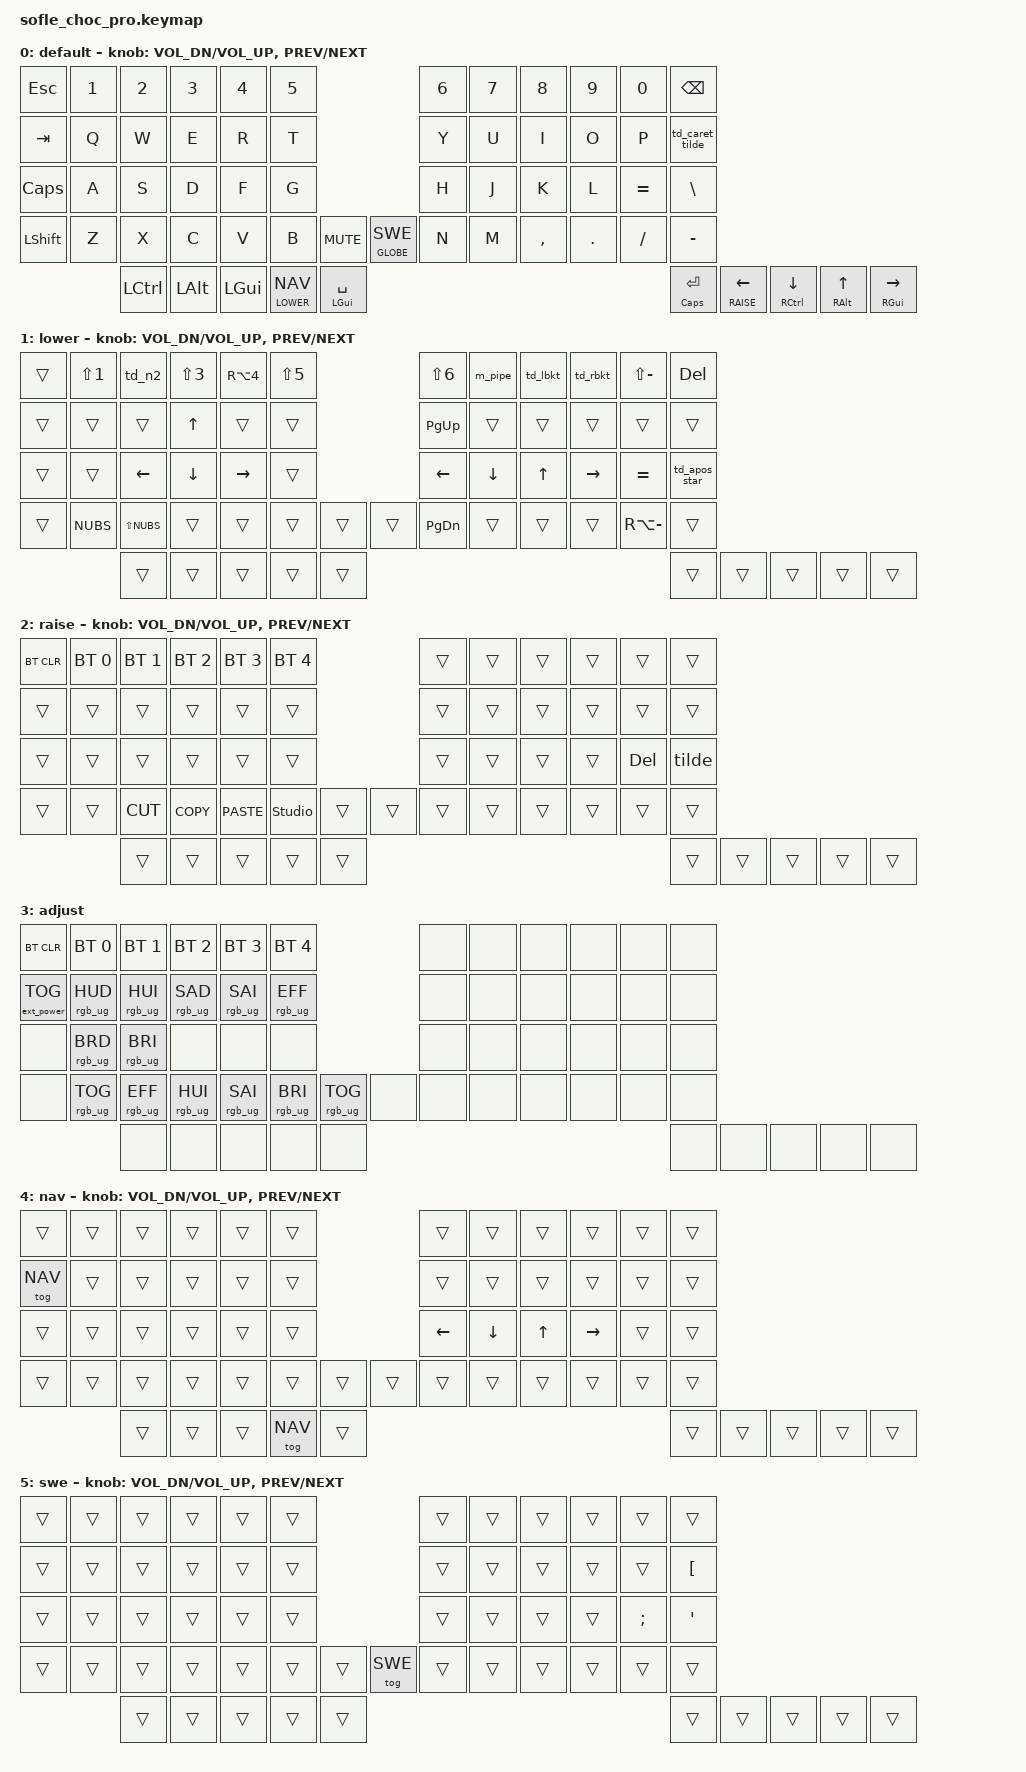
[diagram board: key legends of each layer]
/*
* Copyright (c) 2020 The ZMK Contributors
*
* SPDX-License-Identifier: MIT
*/

#include <behaviors.dtsi>
#include <dt-bindings/zmk/bt.h>
#include <dt-bindings/zmk/ext_power.h>
#include <dt-bindings/zmk/keys.h>
#include <dt-bindings/zmk/pointing.h>
#include <dt-bindings/zmk/rgb.h>

// Swedish characters: just send the US key positions that map to åäö on Swedish OS
// å = LBKT, ä = SQT, ö = SEMI

#define BASE 0
#define LOWER 1
#define RAISE 2
#define ADJUST 3
#define NAV 4
#define SWE 5

/ {
    // Macros for Swedish symbols

    macros {
        tilde: tilde_macro {
            compatible = "zmk,behavior-macro";
            #binding-cells = <0>;
            bindings = <&kp RA(RBKT) &kp SPACE>;  // AltGr+¨ then space = ~
        };

        // Bracket macros for tap-dance (explicit for reliability)

        m_lbkt: macro_left_bracket {
            compatible = "zmk,behavior-macro";
            #binding-cells = <0>;
            bindings = <&kp RA(N8)>;  // [
        };

        m_lbrc: macro_left_brace {
            compatible = "zmk,behavior-macro";
            #binding-cells = <0>;
            bindings = <&kp LS(RA(N8))>;  // { = Option+Shift+8 on macOS Swedish
        };

        m_rbkt: macro_right_bracket {
            compatible = "zmk,behavior-macro";
            #binding-cells = <0>;
            bindings = <&kp RA(N9)>;  // ]
        };

        m_rbrc: macro_right_brace {
            compatible = "zmk,behavior-macro";
            #binding-cells = <0>;
            bindings = <&kp LS(RA(N9))>;  // } = Option+Shift+9 on macOS Swedish
        };

        // Pipe macro - Option+7 on macOS Swedish

        m_pipe: macro_pipe {
            compatible = "zmk,behavior-macro";
            #binding-cells = <0>;
            bindings = <&kp RA(N7)>;  // | = Option+7 on macOS Swedish
        };
    };

    behaviors {
        // Tap-dance for brackets: tap=[], double-tap={}

        td_lbkt: tap_dance_left_bracket {
            compatible = "zmk,behavior-tap-dance";
            #binding-cells = <0>;
            tapping-term-ms = <125>;
            bindings = <&m_lbkt>, <&m_lbrc>;

            // tap=[, double-tap={
        };

        td_rbkt: tap_dance_right_bracket {
            compatible = "zmk,behavior-tap-dance";
            #binding-cells = <0>;
            tapping-term-ms = <125>;
            bindings = <&m_rbkt>, <&m_rbrc>;

            // tap=], double-tap=}
        };

        // Hold-tap for word/line navigation
        // Tap = word jump (Option+Arrow), Hold = line jump (Cmd+Arrow)

        ht_word_l: hold_tap_word_left {
            compatible = "zmk,behavior-hold-tap";
            #binding-cells = <2>;
            flavor = "tap-preferred";
            tapping-term-ms = <125>;
            bindings = <&kp>, <&kp>;
        };

        ht_word_r: hold_tap_word_right {
            compatible = "zmk,behavior-hold-tap";
            #binding-cells = <2>;
            flavor = "tap-preferred";
            tapping-term-ms = <125>;
            bindings = <&kp>, <&kp>;
        };

        // Number row tap-dance for LOWER layer
        // 2: tap = ", double-tap = @

        td_n2: tap_dance_2 {
            compatible = "zmk,behavior-tap-dance";
            #binding-cells = <0>;
            tapping-term-ms = <175>;
            bindings = <&kp LS(N2)>, <&kp RA(N2)>;

            // " then @
        };

        // 7: tap = /, double-tap = |

        td_n7: tap_dance_7 {
            compatible = "zmk,behavior-tap-dance";
            #binding-cells = <0>;
            tapping-term-ms = <125>;
            bindings = <&kp LS(N7)>, <&m_pipe>;

            // / then |
        };

        // Caret/tilde tap-dance for position next to P (replaces Enter)
        // tap = ^, double-tap = ~

        td_caret_tilde: tap_dance_caret_tilde {
            compatible = "zmk,behavior-tap-dance";
            #binding-cells = <0>;
            tapping-term-ms = <155>;  // Right side: 155ms
            bindings = <&kp LS(RBKT)>, <&tilde>;

            // ^ then ~
        };

        // Apostrophe/asterisk tap-dance for LOWER layer
        // tap = ', double-tap = *

        td_apos_star: tap_dance_apos_star {
            compatible = "zmk,behavior-tap-dance";
            #binding-cells = <0>;
            tapping-term-ms = <155>;  // Right side: 155ms
            bindings = <&kp BSLH>, <&kp LS(BSLH)>;

            // ' then *
        };

        // Hold-tap for LOWER key: hold = momentary LOWER, tap = toggle NAV

        ht_lower_nav: hold_tap_lower_nav {
            compatible = "zmk,behavior-hold-tap";
            #binding-cells = <2>;
            flavor = "balanced";
            tapping-term-ms = <200>;
            bindings = <&mo>, <&tog>;
        };

        // Hold-tap for PLAY/Fn key: tap = toggle SWE, hold = GLOBE (macOS fn)

        ht_fn_swe: hold_tap_fn_swe {
            compatible = "zmk,behavior-hold-tap";
            #binding-cells = <2>;
            flavor = "balanced";
            tapping-term-ms = <200>;
            bindings = <&kp>, <&tog>;
        };

        // Hold-tap for RAISE key: tap = LEFT arrow, hold = mo RAISE

        ht_raise_left: hold_tap_raise_left {
            compatible = "zmk,behavior-hold-tap";
            #binding-cells = <2>;
            flavor = "balanced";
            tapping-term-ms = <200>;
            bindings = <&mo>, <&kp>;
        };

        // Hold-tap for right thumb modifiers: tap = arrow, hold = modifier

        ht_ctrl_left: hold_tap_ctrl_left {
            compatible = "zmk,behavior-hold-tap";
            #binding-cells = <2>;
            flavor = "balanced";
            tapping-term-ms = <200>;
            bindings = <&kp>, <&kp>;
        };

        // Hold-tap for Enter: tap = Enter, hold = Caps Lock

        ht_ret_caps: hold_tap_ret_caps {
            compatible = "zmk,behavior-hold-tap";
            #binding-cells = <2>;
            flavor = "balanced";
            tapping-term-ms = <200>;
            bindings = <&kp>, <&kp>;
        };

        // Hold-tap for Space: tap = Space, hold = CMD
        // tap-preferred: prioritize tap for fast typing

        hrm_space: home_row_mod_space {
            compatible = "zmk,behavior-hold-tap";
            #binding-cells = <2>;
            flavor = "tap-preferred";
            tapping-term-ms = <200>;
            quick-tap-ms = <0>;
            bindings = <&kp>, <&kp>;
        };
    };

    // Swedish character combos (å ä ö) - adjacent key pairs
    // P=22, ^/~=23, L=33, ==34, '=35

    combos {
        compatible = "zmk,combos";

        // å: P + ^/~ pressed together

        combo_ao {
            timeout-ms = <50>;
            key-positions = <22 23>;
            bindings = <&kp LBKT>;
            layers = <BASE>;
        };

        // ö: L + = pressed together

        combo_oe {
            timeout-ms = <50>;
            key-positions = <33 34>;
            bindings = <&kp SEMI>;
            layers = <BASE>;
        };

        // ä: = + ' pressed together

        combo_ae {
            timeout-ms = <50>;
            key-positions = <34 35>;
            bindings = <&kp SQT>;
            layers = <BASE>;
        };

        combo_spotlight {
            timeout-ms = <50>;
            key-positions = <42 43>;  // MUTE + FN/SWE (encoder buttons)
            bindings = <&kp LG(SPACE)>;
            layers = <BASE>;
        };

        // Arrow combos on number row: 6-7-8-9-0
        // 2-key = arrows, 3-key = word jump

        combo_arrow_left {
            timeout-ms = <50>;
            key-positions = <6 7>;  // 6 + 7
            bindings = <&kp LEFT>;
            layers = <BASE>;
        };

        combo_arrow_down {
            timeout-ms = <50>;
            key-positions = <7 8>;  // 7 + 8
            bindings = <&kp DOWN>;
            layers = <BASE>;
        };

        combo_arrow_up {
            timeout-ms = <50>;
            key-positions = <8 9>;  // 8 + 9
            bindings = <&kp UP>;
            layers = <BASE>;
        };

        combo_arrow_right {
            timeout-ms = <50>;
            key-positions = <9 10>;  // 9 + 0
            bindings = <&kp RIGHT>;
            layers = <BASE>;
        };

        combo_word_left {
            timeout-ms = <50>;
            key-positions = <6 7 8>;  // 6 + 7 + 8
            bindings = <&kp LA(LEFT)>;
            layers = <BASE>;
        };

        combo_word_right {
            timeout-ms = <50>;
            key-positions = <8 9 10>;  // 8 + 9 + 0
            bindings = <&kp LA(RIGHT)>;
            layers = <BASE>;
        };
    };

    // Activate ADJUST layer by pressing raise and lower

    conditional_layers {
        compatible = "zmk,conditional-layers";

        adjust_layer {
            if-layers = <LOWER RAISE>;
            then-layer = <ADJUST>;
        };
    };

    keymap {
        compatible = "zmk,keymap";

        default_layer {
            display-name = "default";

            // Swedish-optimized layout
            // ------------------------------------------------------------------------------------------------------------
            // |  ESC  |  1  |  2  |  3   |  4   |  5   |                   |  6   |  7    |  8    |  9   |   0   | BKSPC |
            // |  TAB  |  Q  |  W  |  E   |  R   |  T   |                   |  Y   |  U    |  I    |  O   |   P   | ^/~   |
            // | CAPS  |  A  |  S  |  D   |  F   |  G   |                   |  H   |  J    |  K    |  L   |   =   |   '   |
            // | SHIFT |  Z  |  X  |  C   |  V   |  B   |  MUTE  |  |FN/SWE |  N   |  M    |  ,;   |  .:  |  -_   | +/?   |
            //               | CTRL| ALT  | GUI  |LWR/NV|SPC/CMD |  |RET/CPS|RSE/← | ←/CTL | ↓/ALT | →/GUI|
            // LWR/NV: hold = LOWER, tap = toggle NAV | RET/CPS: hold = Caps, tap = Enter
            // FN/SWE: tap = toggle SWE, hold = GLOBE (macOS fn) | RSE/←: tap = LEFT, hold = RAISE
            // SPC/CMD: tap = Space, hold = CMD
            // Combos: P+^=å, L+==ö, =+'=ä, MUTE+FN=Spotlight
            // Arrows: 6+7=←, 7+8=↓, 8+9=↑, 9+0=→ | Word: 6+7+8=word←, 8+9+0=word→

            bindings = <
&kp ESC    &kp N1  &kp N2     &kp N3    &kp N4    &kp N5                                                        &kp N6  &kp N7  &kp N8     &kp N9   &kp N0     &kp BSPC
&kp TAB    &kp Q   &kp W      &kp E     &kp R     &kp T                                                         &kp Y   &kp U   &kp I      &kp O    &kp P      &td_caret_tilde
&kp CLCK   &kp A   &kp S      &kp D     &kp F     &kp G                                                         &kp H   &kp J   &kp K      &kp L    &kp EQUAL  &kp BSLH
&kp LSHFT  &kp Z   &kp X      &kp C     &kp V     &kp B      &kp C_MUTE      &ht_fn_swe GLOBE SWE               &kp N   &kp M   &kp COMMA  &kp DOT  &kp FSLH   &kp MINUS
                   &kp LCTRL  &kp LALT  &kp LGUI  &ht_lower_nav LOWER NAV   &hrm_space LGUI SPACE   &ht_ret_caps CLCK RET   &ht_raise_left RAISE LEFT  &ht_ctrl_left RCTRL DOWN  &ht_ctrl_left RALT UP  &ht_ctrl_left RGUI RIGHT
            >;

            sensor-bindings = <&inc_dec_kp C_VOL_DN C_VOL_UP &inc_dec_kp C_PREV C_NEXT>;
        };

        lower_layer {
            display-name = "lower";

            // LOWER: symbols + vim HJKL arrows + PgUp/Dn on Y/N

            bindings = <
&trans  &kp LS(N1)  &td_n2        &kp LS(N3)  &kp RA(N4)  &kp LS(N5)                    &kp LS(N6)  &m_pipe   &td_lbkt  &td_rbkt   &kp LS(MINUS)  &kp DEL
&trans  &trans      &trans        &kp UP      &trans      &trans                        &kp PG_UP   &trans    &trans    &trans     &trans         &trans
&trans  &trans      &kp LEFT      &kp DOWN    &kp RIGHT   &trans                        &kp LEFT    &kp DOWN  &kp UP    &kp RIGHT  &kp EQUAL      &td_apos_star
&trans  &kp NUBS    &kp LS(NUBS)  &trans      &trans      &trans      &trans    &trans  &kp PG_DN   &trans    &trans    &trans     &kp RA(MINUS)  &trans
                    &trans        &trans      &trans      &trans      &trans    &trans  &trans      &trans    &trans    &trans
            >;

            sensor-bindings = <&inc_dec_kp C_VOL_DN C_VOL_UP &inc_dec_kp C_PREV C_NEXT>;
        };

        raise_layer {
            display-name = "raise";

            // BT controls, tilde, DEL
            // ------------------------------------------------------------------------------------------------------------
            // | BTCLR | BT1  | BT2  |  BT3  |  BT4  |  BT5 |                |      |      |       |      |       |       |
            // |       |      |      |       |       |      |                |      |      |       |      |       |       |
            // |       |      |      |       |       |      |                |      |      |       |      |  DEL  |   ~   |
            // |       |      | CUT  | COPY  | PASTE |      |      |  |      |      |      |       |      |       |       |
            //                |      |       |       |      |      |  |      |      |      |       |      |

            bindings = <
&bt BT_CLR  &bt BT_SEL 0  &bt BT_SEL 1  &bt BT_SEL 2  &bt BT_SEL 3  &bt BT_SEL 4                      &trans  &trans  &trans  &trans  &trans   &trans
&trans      &trans        &trans        &trans        &trans        &trans                            &trans  &trans  &trans  &trans  &trans   &trans
&trans      &trans        &trans        &trans        &trans        &trans                            &trans  &trans  &trans  &trans  &kp DEL  &tilde
&trans      &trans        &kp K_CUT     &kp K_COPY    &kp K_PASTE   &studio_unlock  &trans    &trans  &trans  &trans  &trans  &trans  &trans   &trans
                          &trans        &trans        &trans        &trans          &trans    &trans  &trans  &trans  &trans  &trans
            >;

            sensor-bindings = <&inc_dec_kp C_VOL_DN C_VOL_UP &inc_dec_kp C_PREV C_NEXT>;
        };

        adjust_layer {
            // ----------------------------------------------------------------------------------------------------------------------------
            // | BTCLR  |  BT1    |  BT2    |   BT3   |   BT4   |   BT5   |                  |      |      |       |      |       |       |
            // | EXTPWR | RGB_HUD | RGB_HUI | RGB_SAD | RGB_SAI | RGB_EFF |                  |      |      |       |      |       |       |
            // |        | RGB_BRD | RGB_BRI |         |         |         |                  |      |      |       |      |       |       |
            // |        | RGB_TOG | RGB_EFF | RGB_HUI | RGB_SAI | RGB_BRI | RGB_TOG | |      |      |      |       |      |       |       |
            //                    |         |         |         |         |         | |      |      |      |       |      |

            display-name = "adjust";
            bindings = <
&bt BT_CLR         &bt BT_SEL 0     &bt BT_SEL 1     &bt BT_SEL 2     &bt BT_SEL 3     &bt BT_SEL 4                               &none  &none  &none  &none  &none  &none
&ext_power EP_TOG  &rgb_ug RGB_HUD  &rgb_ug RGB_HUI  &rgb_ug RGB_SAD  &rgb_ug RGB_SAI  &rgb_ug RGB_EFF                            &none  &none  &none  &none  &none  &none
&none              &rgb_ug RGB_BRD  &rgb_ug RGB_BRI  &none            &none            &none                                      &none  &none  &none  &none  &none  &none
&none              &rgb_ug RGB_TOG  &rgb_ug RGB_EFF  &rgb_ug RGB_HUI  &rgb_ug RGB_SAI  &rgb_ug RGB_BRI  &rgb_ug RGB_TOG    &none  &none  &none  &none  &none  &none  &none
                                    &none            &none            &none            &none            &none              &none  &none  &none  &none  &none
            >;
        };

        nav_layer {
            display-name = "nav";
            // Navigation lock layer - tap LOWER to toggle, tap again or ESC to exit
            // Vim-style HJKL arrows only, everything else passes through
            bindings = <
&trans    &trans  &trans  &trans  &trans  &trans                      &trans    &trans    &trans  &trans     &trans  &trans
&tog NAV  &trans  &trans  &trans  &trans  &trans                      &trans    &trans    &trans  &trans     &trans  &trans
&trans    &trans  &trans  &trans  &trans  &trans                      &kp LEFT  &kp DOWN  &kp UP  &kp RIGHT  &trans  &trans
&trans    &trans  &trans  &trans  &trans  &trans    &trans    &trans  &trans    &trans    &trans  &trans     &trans  &trans
                  &trans  &trans  &trans  &tog NAV  &trans    &trans  &trans    &trans    &trans  &trans
            >;
            sensor-bindings = <&inc_dec_kp C_VOL_DN C_VOL_UP &inc_dec_kp C_PREV C_NEXT>;
        };

        swe_layer {
            display-name = "swe";

            // Swedish character layer - tap FN/SWE to toggle, tap again or ESC to exit
            // å on position 23 (next to P), ö on position 34, ä on position 35
            // ------------------------------------------------------------------------------------------------------------
            // |       |     |     |      |      |      |                   |      |       |       |      |       |       |
            // |  EXIT |     |     |      |      |      |                   |      |       |       |      |       |   å   |
            // |       |     |     |      |      |      |                   |      |       |       |      |   ö   |   ä   |
            // |       |     |     |      |      |      |        |  | EXIT  |      |       |       |      |       |       |
            //               |     |      |      |      |        |  |       |      |       |       |      |

            bindings = <
&trans  &trans  &trans  &trans  &trans  &trans                      &trans  &trans  &trans  &trans  &trans    &trans
&trans  &trans  &trans  &trans  &trans  &trans                      &trans  &trans  &trans  &trans  &trans    &kp LBKT
&trans  &trans  &trans  &trans  &trans  &trans                      &trans  &trans  &trans  &trans  &kp SEMI  &kp SQT
&trans  &trans  &trans  &trans  &trans  &trans  &trans    &tog SWE  &trans  &trans  &trans  &trans  &trans    &trans
                &trans  &trans  &trans  &trans  &trans    &trans    &trans  &trans  &trans  &trans
            >;

            sensor-bindings = <&inc_dec_kp C_VOL_DN C_VOL_UP &inc_dec_kp C_PREV C_NEXT>;
        };
    };
};
